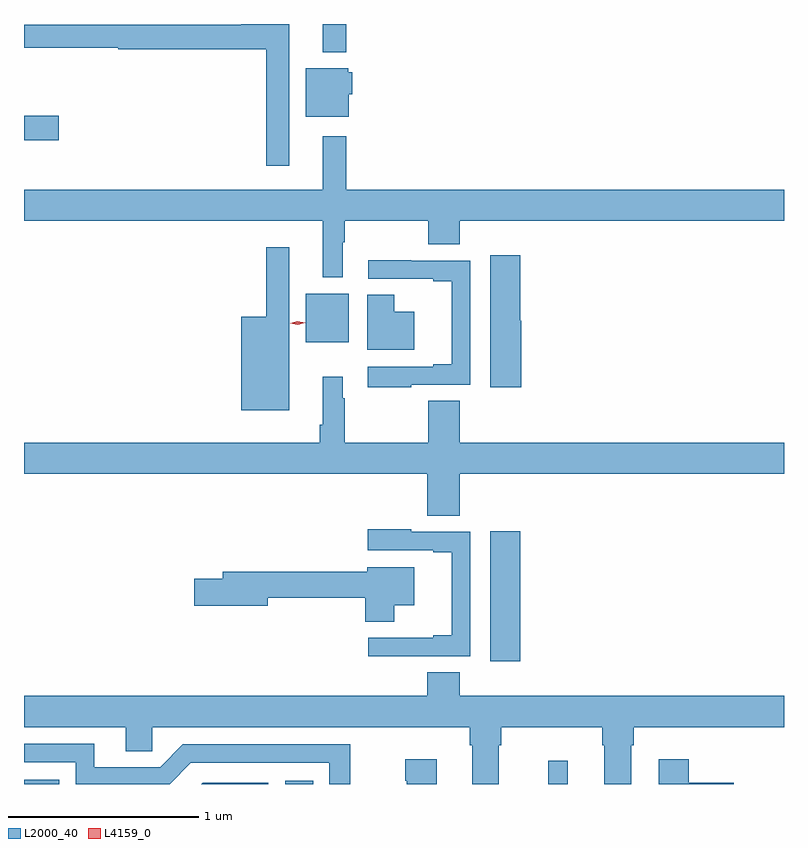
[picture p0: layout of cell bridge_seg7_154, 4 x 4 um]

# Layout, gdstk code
import gdstk
lib = gdstk.Library(unit=1e-6, precision=1e-09)
def R(c, l, rs):  # rectangles x0, y0, x1, y1
    for r in rs: c.add(gdstk.rectangle(r[:2], r[2:], *l))
def P(c, l, *ps):  # polygons
    for p in ps: c.add(gdstk.Polygon(p, *l))
L2000_40 = (2000, 40)
L4159_0 = (4159, 0)

bridge_seg7_154 = lib.new_cell('bridge_seg7_154')
R(bridge_seg7_154, L2000_40, [(604.222,1034.948,604.407,1034.971), (605.598,1034.948,605.744,1034.965), (606.982,1034.948,607.085,1035.07), (606.677,1035.594,606.833,1036.279), (605.705,1037.273,605.932,1037.527), (604.222,1038.335,604.405,1038.465), (605.795,1038.8,605.917,1038.948)])
P(bridge_seg7_154, L2000_40, [(605.617,1038.948),(605.366,1038.948),(605.366,1038.943),(604.222,1038.943),(604.222,1038.822),(604.717,1038.822),(604.717,1038.814),(605.496,1038.814),(605.496,1038.201),(605.617,1038.201)],
  [(605.932,1038.579),(605.95,1038.579),(605.95,1038.693),(605.928,1038.693),(605.928,1038.715),(605.705,1038.715),(605.705,1038.461),(605.932,1038.461)],
  [(605.899,1037.8),(605.909,1037.8),(605.909,1037.912),(606.349,1037.912),(606.349,1037.788),(606.515,1037.788),(606.515,1037.912),(608.222,1037.912),(608.222,1038.076),(605.917,1038.076),(605.917,1038.358),(605.795,1038.358),(605.795,1038.076),(604.222,1038.076),(604.222,1037.912),(605.795,1037.912),(605.795,1037.616),(605.899,1037.616)],
  [(605.617,1037.773),(605.496,1037.773),(605.496,1037.407),(605.366,1037.407),(605.366,1036.916),(605.617,1036.916)],
  [(606.838,1037.385),(606.833,1037.385),(606.833,1037.731),(606.677,1037.731),(606.677,1037.037),(606.838,1037.037)],
  [(606.26,1037.049),(606.57,1037.049),(606.57,1037.703),(606.26,1037.703),(606.26,1037.705),(606.033,1037.705),(606.033,1037.607),(606.377,1037.607),(606.377,1037.595),(606.473,1037.595),(606.473,1037.158),(606.377,1037.158),(606.377,1037.145),(606.03,1037.145),(606.03,1037.037),(606.26,1037.037)],
  [(606.277,1037.434),(606.171,1037.434),(606.171,1037.522),(606.029,1037.522),(606.029,1037.234),(606.277,1037.234)],
  [(606.515,1036.58),(608.222,1036.58),(608.222,1036.744),(606.515,1036.744),(606.515,1036.964),(606.349,1036.964),(606.349,1036.744),(605.909,1036.744),(605.909,1036.979),(605.899,1036.979),(605.899,1037.092),(605.795,1037.092),(605.795,1036.84),(605.778,1036.84),(605.778,1036.744),(604.222,1036.744),(604.222,1036.58),(606.344,1036.58),(606.344,1036.36),(606.515,1036.36)],
  [(606.26,1035.621),(606.57,1035.621),(606.57,1036.275),(606.26,1036.275),(606.26,1036.288),(606.03,1036.288),(606.03,1036.179),(606.377,1036.179),(606.377,1036.167),(606.473,1036.167),(606.473,1035.73),(606.377,1035.73),(606.377,1035.717),(606.033,1035.717),(606.033,1035.62),(606.26,1035.62)],
  [(606.171,1035.89),(606.277,1035.89),(606.277,1036.09),(606.029,1036.09),(606.029,1036.064),(605.267,1036.064),(605.267,1036.028),(605.118,1036.028),(605.118,1035.886),(605.506,1035.886),(605.506,1035.928),(606.017,1035.928),(606.017,1035.802),(606.171,1035.802)],
  [(606.721,1035.152),(606.734,1035.152),(606.734,1035.248),(607.265,1035.248),(607.265,1035.152),(607.277,1035.152),(607.277,1034.948),(607.417,1034.948),(607.417,1035.152),(607.43,1035.152),(607.43,1035.248),(608.222,1035.248),(608.222,1035.412),(606.515,1035.412),(606.515,1035.536),(606.344,1035.536),(606.344,1035.412),(604.222,1035.412),(604.222,1035.248),(604.757,1035.248),(604.757,1035.121),(604.896,1035.121),(604.896,1035.248),(606.569,1035.248),(606.569,1035.152),(606.581,1035.152),(606.581,1034.948),(606.721,1034.948)],
  [(605.1,1035.06),(605.829,1035.06),(605.829,1034.948),(605.938,1034.948),(605.938,1035.156),(605.058,1035.156),(604.938,1035.036),(604.591,1035.036),(604.591,1035.159),(604.222,1035.159),(604.222,1035.063),(604.494,1035.063),(604.494,1034.948),(604.988,1034.948)],
  [(606.394,1035.079),(606.229,1035.079),(606.229,1034.966),(606.236,1034.966),(606.236,1034.948),(606.394,1034.948)],
  [(607.957,1034.955),(607.721,1034.955),(607.721,1035.079),(607.562,1035.079),(607.562,1034.948),(607.957,1034.948)],
  [(605.508,1034.955),(605.162,1034.955),(605.155,1034.948),(605.508,1034.948)])
P(bridge_seg7_154, L4159_0, [(605.662,1037.364),(605.622,1037.373),(605.621,1037.373),(605.622,1037.373),(605.661,1037.384),(605.701,1037.376),(605.701,1037.376),(605.701,1037.376)])

lib.write_gds('bridge_seg7_154.gds')
